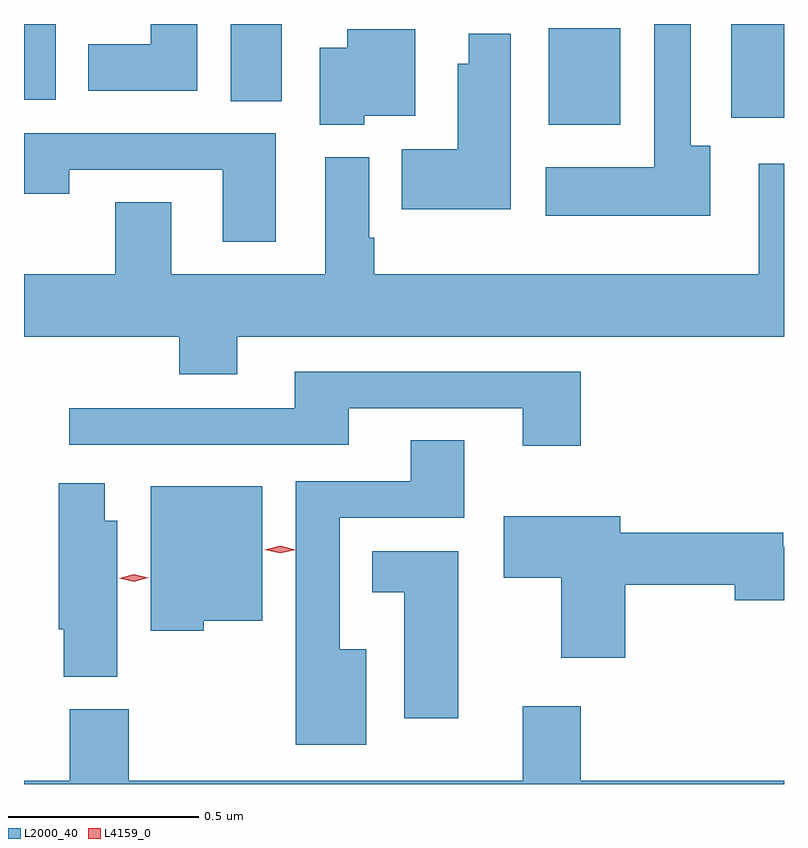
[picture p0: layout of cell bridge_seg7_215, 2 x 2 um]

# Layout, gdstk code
import gdstk
lib = gdstk.Library(unit=1e-6, precision=1e-09)
def R(c, l, rs):  # rectangles x0, y0, x1, y1
    for r in rs: c.add(gdstk.rectangle(r[:2], r[2:], *l))
def P(c, l, *ps):  # polygons
    for p in ps: c.add(gdstk.Polygon(p, *l))
L2000_40 = (2000, 40)
L4159_0 = (4159, 0)

bridge_seg7_215 = lib.new_cell('bridge_seg7_215')
R(bridge_seg7_215, L2000_40, [(162.857,1011.83,163.045,1012.084), (163.337,1011.848,163.476,1012.095), (162.02,1011.892,162.154,1012.095), (161.476,1011.896,161.56,1012.095)])
P(bridge_seg7_215, L2000_40, [(161.932,1012.095),(161.81,1012.095),(161.81,1012.042),(161.645,1012.042),(161.645,1011.92),(161.932,1011.92)],
  [(163.282,1011.774),(163.23,1011.774),(163.23,1012.095),(163.134,1012.095),(163.134,1011.718),(162.849,1011.718),(162.849,1011.59),(163.282,1011.59)],
  [(162.372,1011.854),(162.505,1011.854),(162.505,1012.081),(162.326,1012.081),(162.326,1012.033),(162.254,1012.033),(162.254,1011.83),(162.372,1011.83)],
  [(162.757,1012.069),(162.647,1012.069),(162.647,1011.991),(162.617,1011.991),(162.617,1011.766),(162.47,1011.766),(162.47,1011.608),(162.757,1011.608)],
  [(162.139,1011.807),(161.476,1011.807),(161.476,1011.648),(161.595,1011.648),(161.595,1011.711),(161.999,1011.711),(161.999,1011.522),(162.139,1011.522)],
  [(162.037,1011.272),(163.476,1011.272),(163.476,1011.727),(163.409,1011.727),(163.409,1011.436),(162.398,1011.436),(162.398,1011.532),(162.385,1011.532),(162.385,1011.745),(162.269,1011.745),(162.269,1011.436),(161.863,1011.436),(161.863,1011.626),(161.716,1011.626),(161.716,1011.436),(161.476,1011.436),(161.476,1011.272),(161.885,1011.272),(161.885,1011.173),(162.037,1011.173)],
  [(162.941,1011.18),(162.188,1011.18),(162.188,1011.084),(161.595,1011.084),(161.595,1010.988),(162.331,1010.988),(162.331,1011.084),(162.788,1011.084),(162.788,1010.985),(162.941,1010.985)],
  [(162.376,1010.449),(162.307,1010.449),(162.307,1010.796),(162.634,1010.796),(162.634,1010.999),(162.494,1010.999),(162.494,1010.892),(162.191,1010.892),(162.191,1010.198),(162.376,1010.198)],
  [(161.722,1010.788),(161.689,1010.788),(161.689,1010.887),(161.567,1010.887),(161.567,1010.502),(161.581,1010.502),(161.581,1010.377),(161.722,1010.377)],
  [(161.949,1010.525),(162.103,1010.525),(162.103,1010.878),(161.81,1010.878),(161.81,1010.498),(161.949,1010.498)],
  [(163.058,1010.62),(163.346,1010.62),(163.346,1010.578),(163.476,1010.578),(163.476,1010.72),(163.474,1010.72),(163.474,1010.756),(163.045,1010.756),(163.045,1010.8),(162.738,1010.8),(162.738,1010.638),(162.89,1010.638),(162.89,1010.427),(163.058,1010.427)],
  [(162.619,1010.707),(162.392,1010.707),(162.392,1010.6),(162.476,1010.6),(162.476,1010.268),(162.619,1010.268)],
  [(163.476,1010.104),(162.941,1010.104),(162.941,1010.299),(162.788,1010.299),(162.788,1010.104),(161.751,1010.104),(161.751,1010.292),(161.596,1010.292),(161.596,1010.104),(161.476,1010.104),(161.476,1010.095),(163.476,1010.095)])
P(bridge_seg7_215, L4159_0, [(162.15,1010.702),(162.11,1010.712),(162.11,1010.712),(162.11,1010.712),(162.15,1010.722),(162.191,1010.711),(162.191,1010.711),(162.191,1010.711)],
  [(161.765,1010.627),(161.727,1010.636),(161.726,1010.636),(161.727,1010.636),(161.765,1010.647),(161.803,1010.638),(161.804,1010.638),(161.803,1010.638)])

lib.write_gds('bridge_seg7_215.gds')
